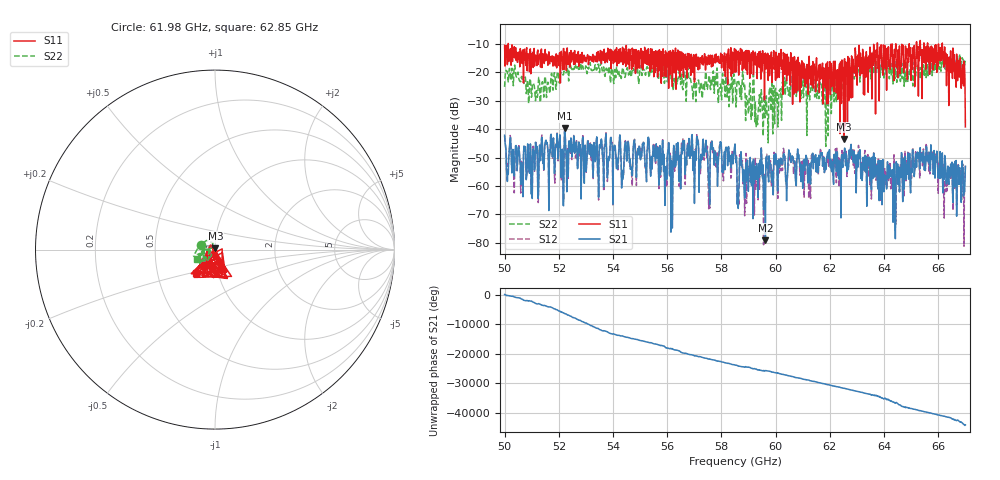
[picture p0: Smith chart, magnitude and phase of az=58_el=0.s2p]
!Created with skrf (http://scikit-rf.org).
# GHz S RI R 50.0
!freq ReS11 ImS11 ReS21 ImS21 ReS12 ImS12 ReS22 ImS22
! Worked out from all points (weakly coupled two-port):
!   1001 points, 50 GHz to 67 GHz, reference 50 ohm
!   highest |S21| = -39.78 dB at 52.23 GHz (marker M1); lowest = -79.1 dB at 59.62 GHz (marker M2)
!   lowest |S11| = -43.5 dB at 62.51 GHz (marker M3), VSWR 1.01, Z = 50.2 + j0.649 ohm
!   |S11| at or under -10 dB: 50.14 GHz to 63.75 GHz (13.62 GHz wide, 23.9 % of centre); 63.75 GHz to 65.2 GHz (1.441 GHz wide, 2.24 % of centre); 66.15 GHz to end of sweep (the widest 3 of 8)
!   |S22| runs from -46.1 to -13.6 dB; largest |S21 - S12| = 0.0029
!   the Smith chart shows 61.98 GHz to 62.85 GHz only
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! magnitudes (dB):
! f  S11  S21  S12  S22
! 50 GHz  -10.6  -42.1  -42.5  -25.2
! 50.61 GHz  -16.0  -51.8  -52.2  -21.9
! 51.97 GHz  -16.1  -50.5  -51.1  -20.3
! 52.23 GHz  -12.8  -39.8  -39.5  -20.3
! 52.84 GHz  -14.9  -53.0  -51.4  -19.2
! 55.68 GHz  -14.2  -55.0  -53.6  -22.7
! 56.22 GHz  -14.0  -49.3  -51.0  -26.5
! 56.83 GHz  -15.2  -50.3  -49.8  -22.2
! 57.5 GHz  -17.0  -51.7  -51.3  -24.6
! 57.68 GHz  -17.9  -46.9  -48.3  -20.6
! 58.5 GHz  -20.0  -45.2  -45.4  -24.2
! 59.62 GHz  -13.3  -79.1  -59.2  -35.0
! 60.34 GHz  -13.6  -49.5  -49.7  -24.0
! 61.34 GHz  -24.5  -51.4  -50.1  -24.0
! 61.88 GHz  -31.2  -49.9  -50.5  -23.8
! 62.51 GHz  -43.5  -50.4  -49.9  -20.9
! 64.18 GHz  -18.1  -52.6  -57.3  -18.7
! 64.35 GHz  -14.3  -54.8  -55.9  -17.9
! 65.3 GHz  -15.9  -52.5  -53.8  -20.4
! 66.08 GHz  -16.1  -50.6  -50.3  -15.3
! 66.9 GHz  -17.4  -54.2  -52.3  -15.3
! 67 GHz  -39.2  -53.1  -52.9  -15.9
